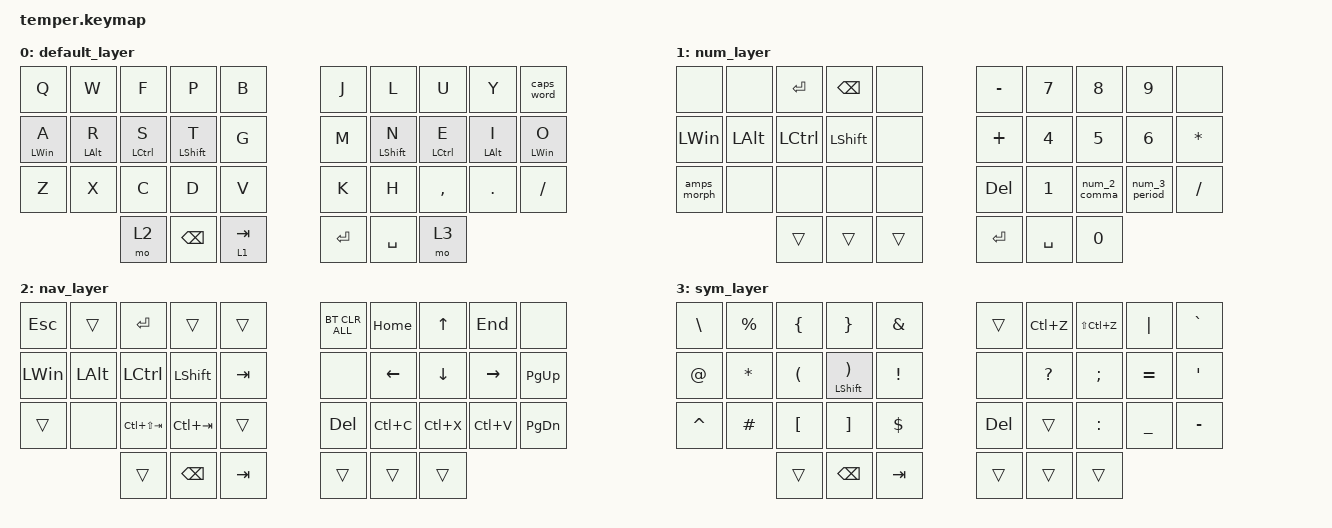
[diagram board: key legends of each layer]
/*
 * Copyright (c) 2020 The ZMK Contributors
 *
 * SPDX-License-Identifier: MIT
 */

#include <behaviors.dtsi>
#include <dt-bindings/zmk/bt.h>
#include <dt-bindings/zmk/keys.h>

#define default_layer 0
#define num_layer 1
#define nav_layer 2
#define sym_layer 3

/ {
    conditional_layers {
        compatible = "zmk,conditional-layers";

        tri_layer {
            if-layers = <1 2>;
            then-layer = <4>;
        };
    };

    behaviors {
        bspc_del: backspace_delete {
            compatible = "zmk,behavior-mod-morph";
            #binding-cells = <0>;
            bindings = <&kp BACKSPACE>, <&kp DELETE>;

            mods = <(MOD_LSFT|MOD_RSFT)>;
            keep-mods = <(MOD_RSFT)>;
        };

        super_bspc: super_backspace {
            compatible = "zmk,behavior-mod-morph";
            #binding-cells = <0>;
            bindings = <&kp BACKSPACE>, <&kp LA(BACKSPACE)>;

            mods = <(MOD_LSFT|MOD_RSFT)>;
        };

        smart_shft: smart_shift {
            compatible = "zmk,behavior-mod-morph";
            #binding-cells = <0>;
            bindings = <&kp LSHFT>, <&caps_word>;

            mods = <(MOD_LSFT)>;
        };

        comma_semi: comma_semi {
            compatible = "zmk,behavior-mod-morph";
            #binding-cells = <0>;
            bindings = <&kp COMMA>, <&kp SEMI>;

            mods = <(MOD_LSFT)>;
        };

        dot_colon: dot_colon {
            compatible = "zmk,behavior-mod-morph";
            #binding-cells = <0>;
            bindings = <&kp DOT>, <&kp COLON>;

            mods = <(MOD_LSFT)>;
        };

        qmrk_excl: qmrk_excl {
            compatible = "zmk,behavior-mod-morph";
            #binding-cells = <0>;
            bindings = <&kp QMARK>, <&kp EXCL>;

            mods = <(MOD_LSFT)>;
        };

        slh_morph: slh_morph {
            compatible = "zmk,behavior-mod-morph";
            #binding-cells = <0>;
            bindings = <&kp FSLH>, <&kp BSLH>;

            mods = <(MOD_LSFT)>;
        };

        amps_morph: amps_morph {
            compatible = "zmk,behavior-mod-morph";
            #binding-cells = <0>;
            bindings = <&kp AMPS>, <&kp PIPE>;

            mods = <(MOD_LSFT)>;
        };

        hrm: hrm {
            compatible = "zmk,behavior-hold-tap";
            label = "HRM";
            bindings = <&kp>, <&kp>;

            #binding-cells = <2>;
            tapping-term-ms = <150>;
            hold-trigger-key-positions = <13 12 11 10 16 17 18 19>;
            flavor = "tap-preferred";
            quick-tap-ms = <200>;
            require-prior-idle-ms = <45>;
        };

        layer_tap: layer_tap {
            compatible = "zmk,behavior-hold-tap";
            label = "LAYER_TAP";
            bindings = <&mo>, <&kp>;

            #binding-cells = <2>;
            tapping-term-ms = <150>;
            flavor = "hold-preferred";
            quick-tap-ms = <0>;
            require-prior-idle-ms = <0>;
            hold-trigger-key-positions = <32 33 34>;
        };

        num_3_period: num_3_period {
            compatible = "zmk,behavior-mod-morph";
            label = "NUM_3_PERIOD";
            bindings = <&kp NUMBER_3>, <&kp PERIOD>;

            #binding-cells = <0>;
            mods = <(MOD_LSFT)>;
        };

        num_2_comma: num_2_comma {
            compatible = "zmk,behavior-mod-morph";
            label = "NUM_2_COMMA";
            bindings = <&kp NUMBER_2>, <&kp COMMA>;

            #binding-cells = <0>;
            mods = <(MOD_LSFT)>;
        };
    };

    keymap {
        compatible = "zmk,keymap";

        default_layer {
            bindings = <
&kp Q            &kp W            &kp F             &kp P              &kp B    &kp J  &kp L              &kp U         &kp Y            &caps_word
&hrm LEFT_WIN A  &hrm LEFT_ALT R  &hrm LCTRL S      &hrm LEFT_SHIFT T  &kp G    &kp M  &hrm LEFT_SHIFT N  &hrm LCTRL E  &hrm LEFT_ALT I  &hrm LEFT_WIN O
&kp Z            &kp X            &kp C             &kp D              &kp V    &kp K  &kp H              &kp COMMA     &kp PERIOD       &kp SLASH
&mo 2            &kp BACKSPACE    &layer_tap 1 TAB                                                        &kp ENTER     &kp SPACE        &mo 3
            >;
        };

        num_layer {
            bindings = <
&none         &none         &kp ENTER  &kp BACKSPACE   &none    &kp MINUS   &kp N7  &kp N8        &kp N9         &none
&kp LEFT_WIN  &kp LEFT_ALT  &kp LCTRL  &kp LEFT_SHIFT  &none    &kp PLUS    &kp N4  &kp N5        &kp N6         &kp ASTERISK
&amps_morph   &none         &none      &none           &none    &kp DELETE  &kp N1  &num_2_comma  &num_3_period  &kp SLASH
&trans        &trans        &trans                                                  &kp ENTER     &kp SPACE      &kp NUMBER_0
            >;
        };

        nav_layer {
            bindings = <
&kp ESC       &trans         &kp ENTER        &trans          &trans     &bt BT_CLR_ALL  &kp HOME   &kp UP_ARROW  &kp END    &none
&kp LEFT_WIN  &kp LEFT_ALT   &kp LCTRL        &kp LEFT_SHIFT  &kp TAB    &none           &kp LEFT   &kp DOWN      &kp RIGHT  &kp PAGE_UP
&trans        &none          &kp LC(LS(TAB))  &kp LC(TAB)     &trans     &kp DELETE      &kp LC(C)  &kp LC(X)     &kp LC(V)  &kp PAGE_DOWN
&trans        &kp BACKSPACE  &kp TAB                                                                &trans        &trans     &trans
            >;
        };

        sym_layer {
            bindings = <
&kp BACKSLASH  &kp PERCENT    &kp LEFT_BRACE        &kp RIGHT_BRACE                    &kp AMPS      &trans      &kp LC(Z)  &kp LS(LC(Z))  &kp PIPE        &kp GRAVE
&kp AT         &kp ASTRK      &kp LEFT_PARENTHESIS  &hrm LEFT_SHIFT RIGHT_PARENTHESIS  &kp EXCL      &none       &kp QMARK  &kp SEMI       &kp EQUAL       &kp APOS
&kp CARET      &kp HASH       &kp LBKT              &kp RBKT                           &kp DOLLAR    &kp DELETE  &trans     &kp COLON      &kp UNDERSCORE  &kp MINUS
&trans         &kp BACKSPACE  &kp TAB                                                                                       &trans         &trans          &trans
            >;
        };
    };
};
